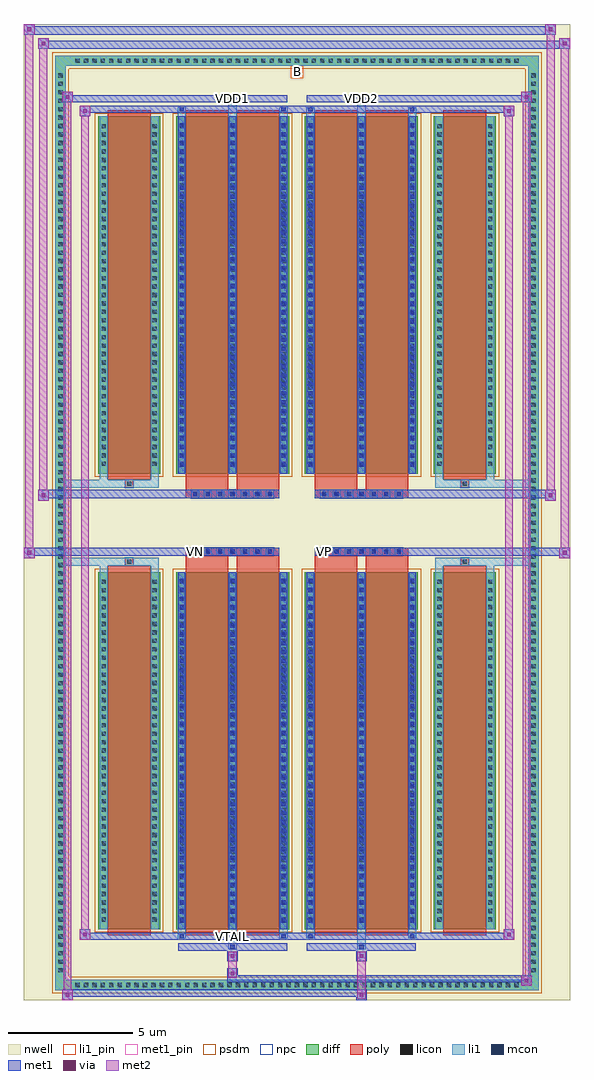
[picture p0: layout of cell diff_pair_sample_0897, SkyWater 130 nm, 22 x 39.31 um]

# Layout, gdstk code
import gdstk
lib = gdstk.Library(unit=1e-6, precision=5e-09)
def R(c, l, rs):  # rectangles x0, y0, x1, y1
    for r in rs: c.add(gdstk.rectangle(r[:2], r[2:], *l))
def A(c, l, x, y, w, h, nx, ny, dx, dy):  # array of equal rectangles
    R(c, l, [(x+i*dx, y+j*dy, x+i*dx+w, y+j*dy+h) for i in range(nx) for j in range(ny)])
def P(c, l, *ps):  # polygons
    for p in ps: c.add(gdstk.Polygon(p, *l))
nwell = (64, 20)
diff = (65, 20)
poly = (66, 20)
licon = (66, 44)
li1_pin = (67, 16)
li1 = (67, 20)
mcon = (67, 44)
met1_pin = (68, 16)
met1 = (68, 20)
via = (68, 44)
met2 = (69, 20)
psdm = (94, 20)
npc = (95, 20)

diff_pair_sample_0897 = lib.new_cell('diff_pair_sample_0897')
R(diff_pair_sample_0897, nwell, [(-11,-19.22,11,20.09), (-8.32,-17.41,-0.01,-0.795), (0.01,-17.41,8.32,-0.795), (-8.32,0.795,-0.01,17.41), (0.01,0.795,8.32,17.41)])
A(diff_pair_sample_0897, diff, -9.045, -18.82, 0.41, 0.41, 53, 2, 0.34, 37.23)
A(diff_pair_sample_0897, diff, -9.73, -18.225, 0.41, 0.41, 1, 107, 0, 0.34)
A(diff_pair_sample_0897, diff, 9.32, -18.225, 0.41, 0.41, 1, 107, 0, 0.34)
R(diff_pair_sample_0897, diff, [(-9.045,-18.82,9.045,-18.41), (-9.73,-18.225,-9.32,18.225), (9.32,-18.225,9.73,18.225), (-8.01,-16.365,-5.51,-1.985), (-4.87,-16.365,-0.32,-1.985), (0.32,-16.365,4.87,-1.985), (5.51,-16.365,8.01,-1.985), (-8.01,1.985,-5.51,16.365), (-4.87,1.985,-0.32,16.365), (0.32,1.985,4.87,16.365), (5.51,1.985,8.01,16.365), (-9.045,18.41,9.045,18.82)])
P(diff_pair_sample_0897, diff, [(9.73,18.82),(-9.73,18.82),(-9.73,-18.41),(-9.32,-18.41),(-9.32,18.41),(9.32,18.41),(9.32,-18.41),(-9.32,-18.41),(-9.73,-18.41),(-9.73,-18.82),(9.73,-18.82)])
A(diff_pair_sample_0897, poly, -4.26, -1.325, 0.33, 0.33, 7, 2, 0.5, 2.32)
A(diff_pair_sample_0897, poly, 0.93, -1.325, 0.33, 0.33, 7, 2, 0.5, 2.32)
R(diff_pair_sample_0897, poly, [(-7.62,-16.615,-5.9,-1.735), (-4.48,-16.615,-2.76,-1.735), (-2.43,-16.615,-0.71,-1.735), (0.71,-16.615,2.43,-1.735), (2.76,-16.615,4.48,-1.735), (5.9,-16.615,7.62,-1.735), (-6.925,-1.735,-6.595,-1.405), (-6.925,-1.735,-6.595,-1.405), (-4.48,-1.735,-2.76,-1.325), (-2.43,-1.735,-0.71,-1.325), (0.71,-1.735,2.43,-1.325), (2.76,-1.735,4.48,-1.325), (6.595,-1.735,6.925,-1.405), (6.595,-1.735,6.925,-1.405), (-4.48,-1.325,-0.71,-0.995), (0.71,-1.325,4.48,-0.995), (-4.48,0.995,-0.71,1.325), (0.71,0.995,4.48,1.325), (-4.48,1.325,-2.76,1.735), (-2.43,1.325,-0.71,1.735), (0.71,1.325,2.43,1.735), (2.76,1.325,4.48,1.735), (-6.925,1.405,-6.595,1.735), (-6.925,1.405,-6.595,1.735), (6.595,1.405,6.925,1.735), (6.595,1.405,6.925,1.735), (-7.62,1.735,-5.9,16.615), (-4.48,1.735,-2.76,16.615), (-2.43,1.735,-0.71,16.615), (0.71,1.735,2.43,16.615), (2.76,1.735,4.48,16.615), (5.9,1.735,7.62,16.615)])
A(diff_pair_sample_0897, licon, -8.925, -18.7, 0.17, 0.17, 53, 2, 0.34, 37.23)
A(diff_pair_sample_0897, licon, -9.61, -18.105, 0.17, 0.17, 1, 107, 0, 0.34)
A(diff_pair_sample_0897, licon, 9.44, -18.105, 0.17, 0.17, 1, 107, 0, 0.34)
A(diff_pair_sample_0897, licon, -7.87, -16.06, 0.17, 0.17, 1, 41, 0, 0.34)
A(diff_pair_sample_0897, licon, -5.82, -16.06, 0.17, 0.17, 1, 41, 0, 0.34)
A(diff_pair_sample_0897, licon, -4.73, -16.06, 0.17, 0.17, 3, 41, 2.05, 0.34)
A(diff_pair_sample_0897, licon, 0.46, -16.06, 0.17, 0.17, 3, 41, 2.05, 0.34)
A(diff_pair_sample_0897, licon, 5.65, -16.06, 0.17, 0.17, 1, 41, 0, 0.34)
A(diff_pair_sample_0897, licon, 7.7, -16.06, 0.17, 0.17, 1, 41, 0, 0.34)
A(diff_pair_sample_0897, licon, -4.18, -1.245, 0.17, 0.17, 7, 2, 0.5, 2.32)
A(diff_pair_sample_0897, licon, 1.01, -1.245, 0.17, 0.17, 7, 2, 0.5, 2.32)
A(diff_pair_sample_0897, licon, -7.87, 2.29, 0.17, 0.17, 1, 41, 0, 0.34)
A(diff_pair_sample_0897, licon, -5.82, 2.29, 0.17, 0.17, 1, 41, 0, 0.34)
A(diff_pair_sample_0897, licon, -4.73, 2.29, 0.17, 0.17, 3, 41, 2.05, 0.34)
A(diff_pair_sample_0897, licon, 0.46, 2.29, 0.17, 0.17, 3, 41, 2.05, 0.34)
A(diff_pair_sample_0897, licon, 5.65, 2.29, 0.17, 0.17, 1, 41, 0, 0.34)
A(diff_pair_sample_0897, licon, 7.7, 2.29, 0.17, 0.17, 1, 41, 0, 0.34)
R(diff_pair_sample_0897, licon, [(-6.845,-1.655,-6.675,-1.485), (6.675,-1.655,6.845,-1.485), (-6.845,1.485,-6.675,1.655), (6.675,1.485,6.845,1.655)])
R(diff_pair_sample_0897, li1_pin, [(-0.25,17.91,0.25,18.41)])
A(diff_pair_sample_0897, li1, -9.005, -18.78, 0.33, 0.33, 53, 2, 0.34, 37.23)
A(diff_pair_sample_0897, li1, -9.69, -18.185, 0.33, 0.33, 1, 107, 0, 0.34)
A(diff_pair_sample_0897, li1, 9.36, -18.185, 0.33, 0.33, 1, 107, 0, 0.34)
A(diff_pair_sample_0897, li1, -4.81, -16.365, 0.33, 14.38, 3, 2, 2.05, 18.35)
A(diff_pair_sample_0897, li1, 0.38, -16.365, 0.33, 14.38, 3, 2, 2.05, 18.35)
A(diff_pair_sample_0897, li1, -7.95, -16.14, 0.33, 0.33, 1, 41, 0, 0.34)
A(diff_pair_sample_0897, li1, -5.9, -16.14, 0.33, 0.33, 1, 41, 0, 0.34)
A(diff_pair_sample_0897, li1, -4.81, -16.14, 0.33, 0.33, 3, 41, 2.05, 0.34)
A(diff_pair_sample_0897, li1, 0.38, -16.14, 0.33, 0.33, 3, 41, 2.05, 0.34)
A(diff_pair_sample_0897, li1, 5.57, -16.14, 0.33, 0.33, 1, 41, 0, 0.34)
A(diff_pair_sample_0897, li1, 7.62, -16.14, 0.33, 0.33, 1, 41, 0, 0.34)
A(diff_pair_sample_0897, li1, -4.73, -16.1, 0.17, 0.17, 3, 39, 2.05, 0.36)
A(diff_pair_sample_0897, li1, -4.73, -16.1, 0.17, 13.85, 3, 2, 2.05, 18.35)
A(diff_pair_sample_0897, li1, 0.46, -16.1, 0.17, 0.17, 3, 39, 2.05, 0.36)
A(diff_pair_sample_0897, li1, 0.46, -16.1, 0.17, 13.85, 3, 2, 2.05, 18.35)
A(diff_pair_sample_0897, li1, -4.26, -1.325, 0.33, 0.33, 7, 2, 0.5, 2.32)
A(diff_pair_sample_0897, li1, 0.93, -1.325, 0.33, 0.33, 7, 2, 0.5, 2.32)
A(diff_pair_sample_0897, li1, -7.95, 2.21, 0.33, 0.33, 1, 41, 0, 0.34)
A(diff_pair_sample_0897, li1, -5.9, 2.21, 0.33, 0.33, 1, 41, 0, 0.34)
A(diff_pair_sample_0897, li1, -4.81, 2.21, 0.33, 0.33, 3, 41, 2.05, 0.34)
A(diff_pair_sample_0897, li1, 0.38, 2.21, 0.33, 0.33, 3, 41, 2.05, 0.34)
A(diff_pair_sample_0897, li1, 5.57, 2.21, 0.33, 0.33, 1, 41, 0, 0.34)
A(diff_pair_sample_0897, li1, 7.62, 2.21, 0.33, 0.33, 1, 41, 0, 0.34)
A(diff_pair_sample_0897, li1, -4.73, 2.25, 0.17, 0.17, 3, 39, 2.05, 0.36)
A(diff_pair_sample_0897, li1, 0.46, 2.25, 0.17, 0.17, 3, 39, 2.05, 0.36)
R(diff_pair_sample_0897, li1, [(-9.73,-18.82,-9.32,-18.41), (-9.73,-18.82,-9.32,-18.41), (-9.32,-18.82,9.32,-18.41), (9.32,-18.82,9.73,-18.41), (9.32,-18.82,9.73,-18.41), (-9.73,-18.41,-9.32,18.41), (9.32,-18.41,9.73,18.41), (-2.76,-17.17,-2.43,-16.365), (-2.68,-17.17,-2.51,-17), (2.43,-17.17,2.76,-16.365), (2.51,-17.17,2.68,-17), (-4.81,-16.74,-4.48,-16.365), (-4.73,-16.74,-4.56,-16.57), (-0.71,-16.74,-0.38,-16.365), (-0.63,-16.74,-0.46,-16.57), (0.38,-16.74,0.71,-16.365), (0.46,-16.74,0.63,-16.57), (4.48,-16.74,4.81,-16.365), (4.56,-16.74,4.73,-16.57), (-7.95,-16.365,-7.62,-1.985), (-5.9,-16.365,-5.57,-1.985), (5.57,-16.365,5.9,-1.985), (7.62,-16.365,7.95,-1.985), (-7.95,-1.985,-7.62,-1.405), (-5.9,-1.985,-5.57,-1.405), (5.57,-1.985,5.9,-1.405), (7.62,-1.985,7.95,-1.405), (-9.73,-1.735,-6.925,-1.405), (-7.95,-1.735,-6.925,-1.405), (-6.925,-1.735,-6.595,-1.405), (-6.595,-1.735,-5.57,-1.405), (5.57,-1.735,6.595,-1.405), (6.595,-1.735,6.925,-1.405), (6.595,-1.735,9.73,-1.405), (6.925,-1.735,7.95,-1.405), (-9.73,1.405,-6.925,1.735), (-7.95,1.405,-6.925,1.735), (-7.95,1.405,-7.62,1.985), (-6.925,1.405,-6.595,1.735), (-6.595,1.405,-5.57,1.735), (-5.9,1.405,-5.57,1.985), (5.57,1.405,6.595,1.735), (5.57,1.405,5.9,1.985), (6.595,1.405,6.925,1.735), (6.595,1.405,9.73,1.735), (6.925,1.405,7.95,1.735), (7.62,1.405,7.95,1.985), (-7.95,1.985,-7.62,16.365), (-5.9,1.985,-5.57,16.365), (5.57,1.985,5.9,16.365), (7.62,1.985,7.95,16.365), (-4.81,16.365,-4.48,16.74), (-2.76,16.365,-2.43,17.17), (-0.71,16.365,-0.38,16.74), (0.38,16.365,0.71,16.74), (2.43,16.365,2.76,17.17), (4.48,16.365,4.81,16.74), (-4.73,16.57,-4.56,16.74), (-0.63,16.57,-0.46,16.74), (0.46,16.57,0.63,16.74), (4.56,16.57,4.73,16.74), (-2.68,17,-2.51,17.17), (2.51,17,2.68,17.17), (-9.73,18.41,-9.32,18.82), (-9.73,18.41,-9.32,18.82), (-9.32,18.41,9.32,18.82), (9.32,18.41,9.73,18.82), (9.32,18.41,9.73,18.82)])
A(diff_pair_sample_0897, mcon, -4.73, -16.1, 0.17, 0.17, 3, 39, 2.05, 0.36)
A(diff_pair_sample_0897, mcon, 0.46, -16.1, 0.17, 0.17, 3, 39, 2.05, 0.36)
A(diff_pair_sample_0897, mcon, -4.18, -1.245, 0.17, 0.17, 7, 2, 0.5, 2.32)
A(diff_pair_sample_0897, mcon, 1.01, -1.245, 0.17, 0.17, 7, 2, 0.5, 2.32)
A(diff_pair_sample_0897, mcon, -4.73, 2.25, 0.17, 0.17, 3, 39, 2.05, 0.36)
A(diff_pair_sample_0897, mcon, 0.46, 2.25, 0.17, 0.17, 3, 39, 2.05, 0.36)
R(diff_pair_sample_0897, mcon, [(-2.68,-17.17,-2.51,-17), (2.51,-17.17,2.68,-17), (-4.73,-16.74,-4.56,-16.57), (-0.63,-16.74,-0.46,-16.57), (0.46,-16.74,0.63,-16.57), (4.56,-16.74,4.73,-16.57), (-4.73,16.57,-4.56,16.74), (-0.63,16.57,-0.46,16.74), (0.46,16.57,0.63,16.74), (4.56,16.57,4.73,16.74), (-2.68,17,-2.51,17.17), (2.51,17,2.68,17.17)])
R(diff_pair_sample_0897, met1_pin, [(-2.73,-16.78,-2.46,-16.51), (-4.23,-1.285,-3.96,-1.015), (0.96,-1.285,1.23,-1.015), (-2.73,16.96,-2.46,17.23), (2.46,16.96,2.73,17.23)])
A(diff_pair_sample_0897, met1, -4.79, -16.365, 0.29, 14.38, 3, 2, 2.05, 18.35)
A(diff_pair_sample_0897, met1, 0.4, -16.365, 0.29, 14.38, 3, 2, 2.05, 18.35)
A(diff_pair_sample_0897, met1, -4.79, -16.16, 0.29, 0.29, 3, 39, 2.05, 0.36)
A(diff_pair_sample_0897, met1, 0.4, -16.16, 0.29, 0.29, 3, 39, 2.05, 0.36)
A(diff_pair_sample_0897, met1, -4.24, -1.305, 0.29, 0.29, 7, 2, 0.5, 2.32)
A(diff_pair_sample_0897, met1, 0.95, -1.305, 0.29, 0.29, 7, 2, 0.5, 2.32)
A(diff_pair_sample_0897, met1, -4.79, 2.19, 0.29, 0.29, 3, 39, 2.05, 0.36)
A(diff_pair_sample_0897, met1, 0.4, 2.19, 0.29, 0.29, 3, 39, 2.05, 0.36)
R(diff_pair_sample_0897, met1, [(-9.46,-19.22,-9.03,-18.79), (2.38,-19.22,2.81,-18.79), (-9.46,-19.08,2.81,-18.79), (9.03,-18.65,9.46,-18.22), (-2.81,-18.51,9.46,-18.22), (-2.81,-18.37,-2.38,-17.94), (-2.81,-17.66,-2.38,-17.23), (2.38,-17.66,2.81,-17.23), (-4.79,-17.23,-0.4,-16.94), (-2.74,-17.23,-2.45,-16.94), (0.4,-17.23,4.79,-16.94), (2.45,-17.23,2.74,-16.94), (-8.75,-16.8,-8.32,-16.37), (-8.75,-16.8,-4.79,-16.51), (-4.79,-16.8,-4.5,-16.51), (-4.79,-16.8,-0.4,-16.51), (-0.69,-16.8,-0.4,-16.51), (-0.4,-16.8,0.4,-16.51), (0.4,-16.8,0.69,-16.51), (0.4,-16.8,4.79,-16.51), (4.5,-16.8,4.79,-16.51), (4.79,-16.8,8.75,-16.51), (8.32,-16.8,8.75,-16.37), (-11,-1.425,-10.57,-0.995), (10.57,-1.425,11,-0.995), (-11,-1.325,-0.71,-0.995), (-4.48,-1.325,-0.71,-0.995), (0.71,-1.325,4.48,-0.995), (0.71,-1.325,11,-0.995), (-10.43,0.895,-10,1.325), (10,0.895,10.43,1.325), (-10.43,0.995,-4.48,1.325), (-4.48,0.995,-0.71,1.325), (0.71,0.995,4.48,1.325), (4.48,0.995,10.43,1.325), (-8.75,16.37,-8.32,16.8), (8.32,16.37,8.75,16.8), (-8.75,16.51,-4.79,16.8), (-4.79,16.51,-4.5,16.8), (-4.79,16.51,-0.4,16.8), (-0.69,16.51,-0.4,16.8), (-0.4,16.51,0.4,16.8), (0.4,16.51,0.69,16.8), (0.4,16.51,4.79,16.8), (4.5,16.51,4.79,16.8), (4.79,16.51,8.75,16.8), (-9.46,16.94,-9.03,17.37), (-9.46,16.94,-4.79,17.23), (-4.79,16.94,-0.4,17.23), (-2.74,16.94,-2.45,17.23), (0.4,16.94,4.79,17.23), (2.45,16.94,2.74,17.23), (4.79,16.94,9.46,17.23), (9.03,16.94,9.46,17.37), (-10.43,19.09,-10,19.52), (-10.43,19.09,-8.32,19.42), (-8.32,19.09,8.32,19.42), (8.32,19.09,11,19.42), (10.57,19.09,11,19.52), (-11,19.66,-10.57,20.09), (-11,19.66,-8.32,19.99), (-8.32,19.66,8.32,19.99), (8.32,19.66,10.43,19.99), (10,19.66,10.43,20.09)])
R(diff_pair_sample_0897, via, [(-9.32,-19.08,-9.17,-18.93), (2.52,-19.08,2.67,-18.93), (9.17,-18.51,9.32,-18.36), (-2.67,-18.23,-2.52,-18.08), (-2.67,-17.52,-2.52,-17.37), (2.52,-17.52,2.67,-17.37), (-8.61,-16.66,-8.46,-16.51), (8.46,-16.66,8.61,-16.51), (-10.86,-1.285,-10.71,-1.135), (10.71,-1.285,10.86,-1.135), (-10.29,1.035,-10.14,1.185), (10.14,1.035,10.29,1.185), (-8.61,16.51,-8.46,16.66), (8.46,16.51,8.61,16.66), (-9.32,17.08,-9.17,17.23), (9.17,17.08,9.32,17.23), (-10.29,19.23,-10.14,19.38), (10.71,19.23,10.86,19.38), (-10.86,19.8,-10.71,19.95), (10.14,19.8,10.29,19.95)])
R(diff_pair_sample_0897, met2, [(-9.46,-19.22,-9.03,-18.79), (-9.39,-19.22,-9.1,17.37), (-9.1,-19.22,-9.03,-18.79), (-9.41,-19.17,-9.08,-18.84), (2.43,-19.17,2.76,-18.84), (2.43,-18.84,2.76,-17.61), (9.03,-18.65,9.46,-18.22), (9.1,-18.65,9.39,17.37), (9.39,-18.65,9.46,-18.22), (9.08,-18.6,9.41,-18.27), (-2.76,-18.32,-2.43,-17.99), (-2.76,-17.99,-2.43,-17.61), (-2.76,-17.61,-2.43,-17.28), (2.43,-17.61,2.76,-17.28), (-8.75,-16.8,-8.32,-16.37), (-8.68,-16.8,-8.39,16.8), (-8.39,-16.8,-8.32,-16.37), (8.32,-16.8,8.75,-16.37), (8.39,-16.8,8.68,16.8), (8.68,-16.8,8.75,-16.37), (-8.7,-16.75,-8.37,-16.42), (8.37,-16.75,8.7,-16.42), (-11,-1.425,-10.57,-0.995), (-10.95,-1.425,-10.62,20.09), (-10.62,-1.425,-10.57,-0.995), (10.57,-1.425,11,-0.995), (10.62,-1.425,10.95,19.52), (10.95,-1.425,11,-0.995), (-10.95,-1.375,-10.62,-1.045), (10.62,-1.375,10.95,-1.045), (-10.43,0.895,-10,1.325), (-10.38,0.895,-10.05,19.52), (-10.05,0.895,-10,1.325), (10,0.895,10.43,1.325), (10.05,0.895,10.38,20.09), (10.38,0.895,10.43,1.325), (-10.38,0.945,-10.05,1.275), (10.05,0.945,10.38,1.275), (-8.75,16.37,-8.32,16.8), (-8.39,16.37,-8.32,16.8), (8.32,16.37,8.75,16.8), (8.68,16.37,8.75,16.8), (-8.7,16.42,-8.37,16.75), (8.37,16.42,8.7,16.75), (-9.46,16.94,-9.03,17.37), (-9.1,16.94,-9.03,17.37), (9.03,16.94,9.46,17.37), (9.39,16.94,9.46,17.37), (-9.41,16.99,-9.08,17.32), (9.08,16.99,9.41,17.32), (-10.43,19.09,-10,19.52), (-10.05,19.09,-10,19.52), (10.57,19.09,11,19.52), (10.95,19.09,11,19.52), (-10.38,19.14,-10.05,19.47), (10.62,19.14,10.95,19.47), (-11,19.66,-10.57,20.09), (-10.62,19.66,-10.57,20.09), (10,19.66,10.43,20.09), (10.38,19.66,10.43,20.09), (-10.95,19.71,-10.62,20.04), (10.05,19.71,10.38,20.04)])
R(diff_pair_sample_0897, psdm, [(-8.14,-16.495,-5.38,-1.855), (-5,-16.495,-0.19,-1.855), (0.19,-16.495,5,-1.855), (5.38,-16.495,8.14,-1.855), (-8.14,1.855,-5.38,16.495), (-5,1.855,-0.19,16.495), (0.19,1.855,5,16.495), (5.38,1.855,8.14,16.495)])
P(diff_pair_sample_0897, psdm, [(9.86,18.95),(-9.86,18.95),(-9.86,-18.28),(-9.19,-18.28),(-9.19,18.28),(9.19,18.28),(9.19,-18.28),(-9.19,-18.28),(-9.86,-18.28),(-9.86,-18.95),(9.86,-18.95)])
A(diff_pair_sample_0897, npc, -4.28, -1.345, 0.37, 0.37, 7, 2, 0.5, 2.32)
A(diff_pair_sample_0897, npc, 0.91, -1.345, 0.37, 0.37, 7, 2, 0.5, 2.32)
R(diff_pair_sample_0897, npc, [(-6.945,-1.755,-6.575,-1.385), (6.575,-1.755,6.945,-1.385), (-4.28,-1.345,-3.41,-0.975), (-4.28,-1.345,-3.41,-0.975), (-3.78,-1.345,-2.91,-0.975), (-3.78,-1.345,-2.91,-0.975), (-3.28,-1.345,-2.41,-0.975), (-3.28,-1.345,-2.41,-0.975), (-2.78,-1.345,-1.91,-0.975), (-2.78,-1.345,-1.91,-0.975), (-2.28,-1.345,-1.41,-0.975), (-2.28,-1.345,-1.41,-0.975), (-1.78,-1.345,-0.91,-0.975), (-1.78,-1.345,-0.91,-0.975), (0.91,-1.345,1.78,-0.975), (0.91,-1.345,1.78,-0.975), (1.41,-1.345,2.28,-0.975), (1.41,-1.345,2.28,-0.975), (1.91,-1.345,2.78,-0.975), (1.91,-1.345,2.78,-0.975), (2.41,-1.345,3.28,-0.975), (2.41,-1.345,3.28,-0.975), (2.91,-1.345,3.78,-0.975), (2.91,-1.345,3.78,-0.975), (3.41,-1.345,4.28,-0.975), (3.41,-1.345,4.28,-0.975), (-4.28,0.975,-3.41,1.345), (-4.28,0.975,-3.41,1.345), (-3.78,0.975,-2.91,1.345), (-3.78,0.975,-2.91,1.345), (-3.28,0.975,-2.41,1.345), (-3.28,0.975,-2.41,1.345), (-2.78,0.975,-1.91,1.345), (-2.78,0.975,-1.91,1.345), (-2.28,0.975,-1.41,1.345), (-2.28,0.975,-1.41,1.345), (-1.78,0.975,-0.91,1.345), (-1.78,0.975,-0.91,1.345), (0.91,0.975,1.78,1.345), (0.91,0.975,1.78,1.345), (1.41,0.975,2.28,1.345), (1.41,0.975,2.28,1.345), (1.91,0.975,2.78,1.345), (1.91,0.975,2.78,1.345), (2.41,0.975,3.28,1.345), (2.41,0.975,3.28,1.345), (2.91,0.975,3.78,1.345), (2.91,0.975,3.78,1.345), (3.41,0.975,4.28,1.345), (3.41,0.975,4.28,1.345), (-6.945,1.385,-6.575,1.755), (6.575,1.385,6.945,1.755)])
diff_pair_sample_0897.add(gdstk.Label('VTAIL', (-2.595,-16.645), layer=68, texttype=5))
diff_pair_sample_0897.add(gdstk.Label('VN', (-4.095,-1.15), layer=68, texttype=5))
diff_pair_sample_0897.add(gdstk.Label('VP', (1.095,-1.15), layer=68, texttype=5))
diff_pair_sample_0897.add(gdstk.Label('B', (0,18.16), layer=67, texttype=5))
diff_pair_sample_0897.add(gdstk.Label('VDD2', (2.595,17.095), layer=68, texttype=5))
diff_pair_sample_0897.add(gdstk.Label('VDD1', (-2.595,17.095), layer=68, texttype=5))

lib.write_gds('diff_pair_sample_0897.gds')
